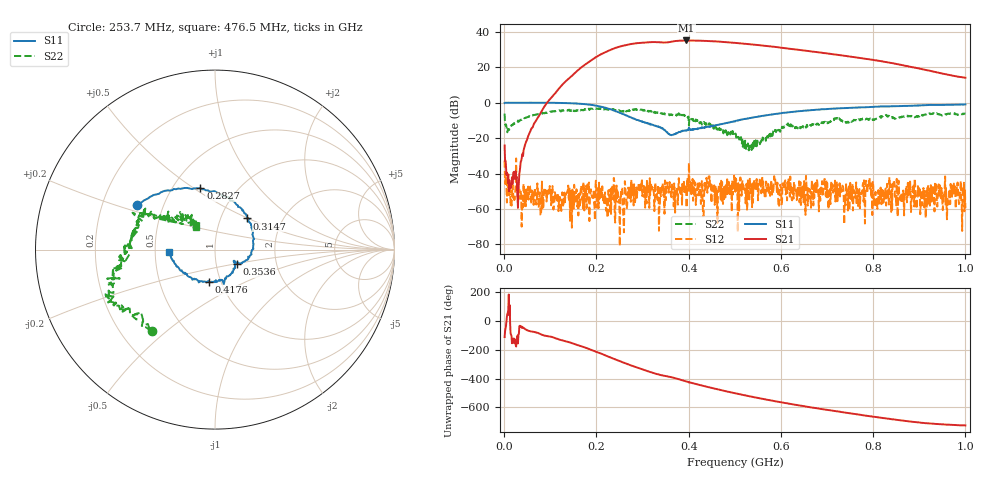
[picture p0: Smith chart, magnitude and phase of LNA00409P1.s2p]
! Created with skrf 1.9.0 (http://scikit-rf.org).
# Hz S RI R 50.0
!freq ReS11 ImS11 ReS21 ImS21 ReS12 ImS12 ReS22 ImS22
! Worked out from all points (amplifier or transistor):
!   1001 points, 1 MHz to 1 GHz, reference 50 ohm
!   highest |S21| = 35.2 dB at 394.6 MHz (marker M1)
!   |S21| within 3 dB of that: 257.4 MHz to 565.7 MHz (308.2 MHz wide, 74.9 % of centre)
!   unconditionally stable (mu >= 1): 238.8 MHz to 298.6 MHz; 309.7 MHz to 400.2 MHz; 401.1 MHz to end of sweep (the widest 3 of 30)
!   at 166.8 MHz: K = 0.69, MSG = 33.3 dB, |S12| = -46.8 dB
!   at 500.5 MHz: K = 1.35, MAG = 34.3 dB, |S12| = -41.7 dB
!   at 1 GHz: K = 13.99, MAG = 22.4 dB, |S12| = -59.5 dB
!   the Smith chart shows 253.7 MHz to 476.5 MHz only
!   S11 on the Smith chart (normalised r, x): 253.7 MHz: 0.35, +0.23; 282.7 MHz: 0.68, +0.53; 314.7 MHz: 1.32, +0.49; 353.6 MHz: 1.26, -0.20; 417.6 MHz: 0.88, -0.33; 476.5 MHz: 0.59, -0.02
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1000000  0.9806 0.000319  -0.0239 -0.0573  -0.0232 0.00263  0.3333 0.3616
1.08892e8  0.5187 -0.8484  -0.817 -1.55  -0.000779 -0.00152  0.4395 -0.3631
1.67833e8  -0.2315 -0.9023  -10.06 -0.5597  0.000612 0.0032  0.0566 -0.6253
2.13787e8  -0.6783 -0.3262  -15.29 19.34  0.000312 -0.0022  -0.1996 -0.6629
2.32768e8  -0.6415 -0.00351  -7.239 31.25  -0.000322 0.00389  -0.2721 -0.5552
2.53747e8  -0.4372 0.2498  9.019 38.19  -0.0038 0.00043  -0.3508 -0.4509
2.82718e8  -0.0813 0.3418  34.7 31.52  -0.00183 0.00279  -0.5816 -0.2901
3.14686e8  0.1763 0.1734  50.55 6.282  -0.000963 -0.000464  -0.5639 -0.1602
3.34666e8  0.2142 0.00462  50.09 -10.59  -0.00148 0.00296  -0.5154 -0.0424
3.53647e8  0.1236 -0.0793  45.51 -21.38  -0.000785 0.00532  -0.4737 0.0381
3.71629e8  0.1108 -0.0757  43.22 -34.33  0.000863 0.00204  -0.4197 0.175
3.94606e8  0.0654 -0.1495  28.88 -49.51  0.00452 -0.000756  -0.3629 0.181
4.17583e8  -0.0326 -0.1789  10.17 -55.69  0.00219 0.00114  -0.2449 0.1756
4.45555e8  -0.1626 -0.1331  -11.12 -53.83  0.00785 0.00268  -0.177 0.1884
4.76524e8  -0.257 -0.0149  -29.8 -42.52  0.00187 0.000296  -0.1063 0.1252
5.005e8  -0.2744 0.1103  -38.86 -30.43  -0.00127 -0.00809  -0.0991 0.076
5.4046e8  -0.222 0.3127  -42.87 -8.746  0.00366 -0.00376  -0.0516 -0.000772
5.85415e8  -0.0487 0.4741  -36.49 10.5  -0.000703 -0.00843  -0.1452 -0.0682
6.67333e8  0.3305 0.5272  -13.49 24.3  0.000517 -0.00647  -0.2302 -0.0658
7.53247e8  0.6259 0.357  4.338 19.28  -8.35e-05 -0.00324  -0.2951 0.00594
8.34166e8  0.7791 0.1312  10.25 8.935  0.00116 0.000662  -0.4164 0.0544
1e9  0.8038 -0.3988  5.074 -0.4406  0.000967 -0.000427  -0.2745 0.4072
